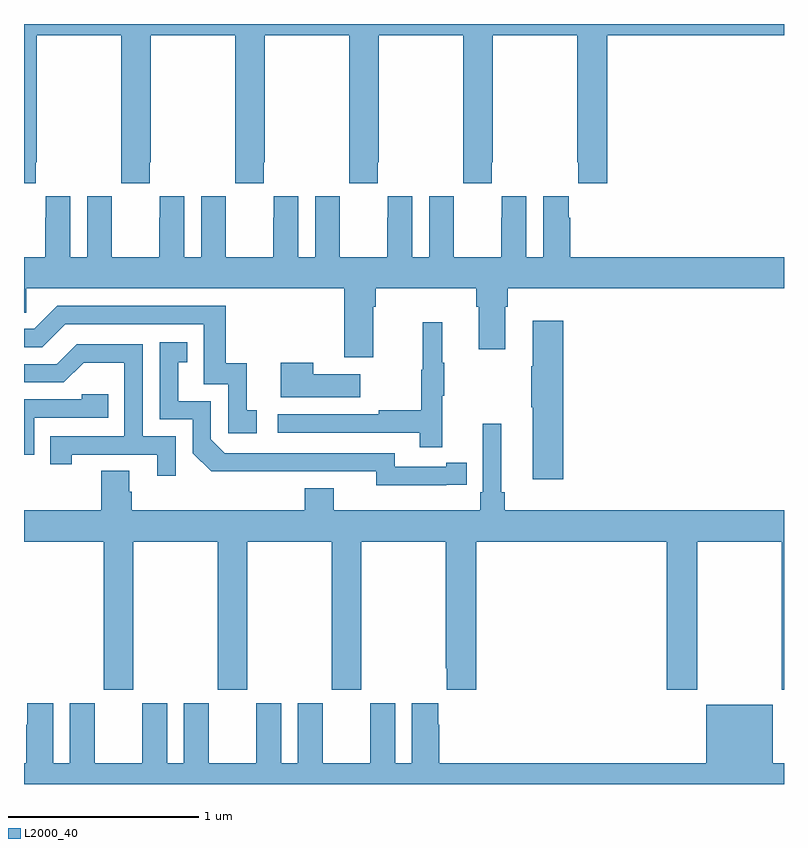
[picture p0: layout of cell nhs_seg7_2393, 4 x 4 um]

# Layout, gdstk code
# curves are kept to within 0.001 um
import gdstk
lib = gdstk.Library(unit=1e-6, precision=1e-09)
def P(c, l, *ps):  # polygons
    for p in ps: c.add(gdstk.Polygon(p, *l))
L2000_40 = (2000, 40)

nhs_seg7_2393 = lib.new_cell('nhs_seg7_2393')
P(nhs_seg7_2393, L2000_40, [(267.063,1009.273),(267.066,1009.273),(267.066,1009.94),(267.511,1009.94),(267.511,1009.273),(267.513,1009.273),(267.513,1009.161),(267.663,1009.161),(267.663,1009.273),(267.666,1009.273),(267.666,1009.94),(268.111,1009.94),(268.111,1009.273),(268.113,1009.273),(268.113,1009.161),(268.263,1009.161),(268.263,1009.273),(268.266,1009.273),(268.266,1009.94),(268.711,1009.94),(268.711,1009.273),(268.713,1009.273),(268.713,1009.161),(268.863,1009.161),(268.863,1009.273),(268.866,1009.273),(268.866,1009.94),(269.311,1009.94),(269.311,1009.273),(269.313,1009.273),(269.313,1009.161),(269.463,1009.161),(269.463,1009.273),(269.466,1009.273),(269.466,1009.94),(269.911,1009.94),(269.911,1009.273),(269.917,1009.273),(269.917,1009.161),(270.071,1009.161),(270.071,1009.94),(271,1009.94),(271,1010),(267,1010),(267,1009.161),(267.063,1009.161)],
  [(268.837,1008.512),(268.85,1008.512),(268.85,1008.608),(269.381,1008.608),(269.381,1008.512),(269.393,1008.512),(269.393,1008.288),(269.533,1008.288),(269.533,1008.512),(269.546,1008.512),(269.546,1008.608),(271,1008.608),(271,1008.772),(269.876,1008.772),(269.876,1008.98),(269.866,1008.98),(269.866,1009.093),(269.732,1009.093),(269.732,1008.772),(269.644,1008.772),(269.644,1009.093),(269.514,1009.093),(269.514,1008.98),(269.513,1008.98),(269.513,1008.772),(269.263,1008.772),(269.263,1008.98),(269.262,1008.98),(269.262,1009.093),(269.132,1009.093),(269.132,1008.772),(269.044,1008.772),(269.044,1009.093),(268.914,1009.093),(268.914,1008.98),(268.913,1008.98),(268.913,1008.772),(268.663,1008.772),(268.663,1008.98),(268.662,1008.98),(268.662,1009.093),(268.532,1009.093),(268.532,1008.772),(268.444,1008.772),(268.444,1009.093),(268.314,1009.093),(268.314,1008.98),(268.313,1008.98),(268.313,1008.772),(268.063,1008.772),(268.063,1008.98),(268.062,1008.98),(268.062,1009.093),(267.932,1009.093),(267.932,1008.772),(267.844,1008.772),(267.844,1009.093),(267.714,1009.093),(267.714,1008.98),(267.713,1008.98),(267.713,1008.772),(267.463,1008.772),(267.463,1008.98),(267.462,1008.98),(267.462,1009.093),(267.332,1009.093),(267.332,1008.772),(267.244,1008.772),(267.244,1009.093),(267.114,1009.093),(267.114,1008.98),(267.113,1008.98),(267.113,1008.772),(267,1008.772),(267,1008.481),(267.012,1008.481),(267.012,1008.608),(268.685,1008.608),(268.685,1008.246),(268.837,1008.246)],
  [(268.225,1007.967),(268.172,1007.967),(268.172,1008.214),(268.061,1008.214),(268.061,1008.516),(267.174,1008.516),(267.054,1008.396),(267,1008.396),(267,1008.3),(267.096,1008.3),(267.216,1008.42),(267.945,1008.42),(267.945,1008.105),(268.074,1008.105),(268.074,1007.847),(268.225,1007.847)],
  [(269.837,1008.439),(269.678,1008.439),(269.678,1008.2),(269.671,1008.2),(269.671,1007.983),(269.678,1007.983),(269.678,1007.604),(269.837,1007.604)],
  [(269.201,1008.043),(269.212,1008.043),(269.212,1008.217),(269.201,1008.217),(269.201,1008.43),(269.098,1008.43),(269.098,1008.18),(269.091,1008.18),(269.091,1007.966),(268.867,1007.966),(268.867,1007.946),(268.335,1007.946),(268.335,1007.85),(269.083,1007.85),(269.083,1007.772),(269.201,1007.772)],
  [(269.222,1007.574),(269.33,1007.574),(269.33,1007.69),(269.222,1007.69),(269.222,1007.67),(268.95,1007.67),(268.95,1007.742),(268.056,1007.742),(267.984,1007.814),(267.984,1008.015),(267.811,1008.015),(267.811,1008.219),(267.86,1008.219),(267.86,1008.325),(267.714,1008.325),(267.714,1007.919),(267.888,1007.919),(267.888,1007.742),(267.986,1007.645),(268.854,1007.646),(268.854,1007.573)],
  [(267.798,1007.829),(267.624,1007.829),(267.624,1008.315),(267.278,1008.315),(267.173,1008.21),(267,1008.21),(267,1008.114),(267.21,1008.114),(267.314,1008.218),(267.528,1008.218),(267.528,1007.829),(267.139,1007.829),(267.139,1007.682),(267.25,1007.682),(267.25,1007.733),(267.701,1007.733),(267.701,1007.622),(267.798,1007.622)],
  [(268.771,1008.157),(268.523,1008.157),(268.523,1008.217),(268.352,1008.217),(268.352,1008.035),(268.771,1008.035)],
  [(267.054,1007.928),(267.443,1007.928),(267.443,1008.051),(267.303,1008.051),(267.303,1008.024),(267,1008.024),(267,1007.733),(267.054,1007.733)],
  [(267.576,1007.276),(268.021,1007.276),(268.021,1006.497),(268.176,1006.497),(268.176,1007.276),(268.621,1007.276),(268.621,1006.497),(268.776,1006.497),(268.776,1007.276),(269.221,1007.276),(269.221,1006.609),(269.225,1006.609),(269.225,1006.497),(269.381,1006.497),(269.381,1007.276),(270.383,1007.276),(270.383,1006.497),(270.543,1006.497),(270.543,1007.276),(270.988,1007.276),(270.988,1006.497),(271,1006.497),(271,1007.44),(269.531,1007.44),(269.531,1007.536),(269.512,1007.536),(269.512,1007.896),(269.415,1007.896),(269.415,1007.536),(269.402,1007.536),(269.402,1007.44),(268.63,1007.44),(268.63,1007.557),(268.478,1007.557),(268.478,1007.44),(267.566,1007.44),(267.566,1007.538),(267.553,1007.538),(267.553,1007.648),(267.406,1007.648),(267.406,1007.44),(267,1007.44),(267,1007.276),(267.421,1007.276),(267.421,1006.497),(267.576,1006.497)],
  [(271,1006.108),(270.94,1006.108),(270.94,1006.417),(270.59,1006.417),(270.59,1006.108),(269.186,1006.108),(269.186,1006.313),(269.179,1006.313),(269.179,1006.426),(269.042,1006.426),(269.042,1006.108),(268.954,1006.108),(268.954,1006.426),(268.823,1006.426),(268.823,1006.108),(268.573,1006.108),(268.573,1006.426),(268.442,1006.426),(268.442,1006.108),(268.354,1006.108),(268.354,1006.426),(268.223,1006.426),(268.223,1006.108),(267.973,1006.108),(267.973,1006.426),(267.842,1006.426),(267.842,1006.108),(267.754,1006.108),(267.754,1006.426),(267.623,1006.426),(267.623,1006.108),(267.373,1006.108),(267.373,1006.426),(267.242,1006.426),(267.242,1006.108),(267.154,1006.108),(267.154,1006.426),(267.017,1006.426),(267.017,1006.313),(267.011,1006.313),(267.011,1006.108),(267,1006.108),(267,1006),(271,1006)])

lib.write_gds('nhs_seg7_2393.gds')
